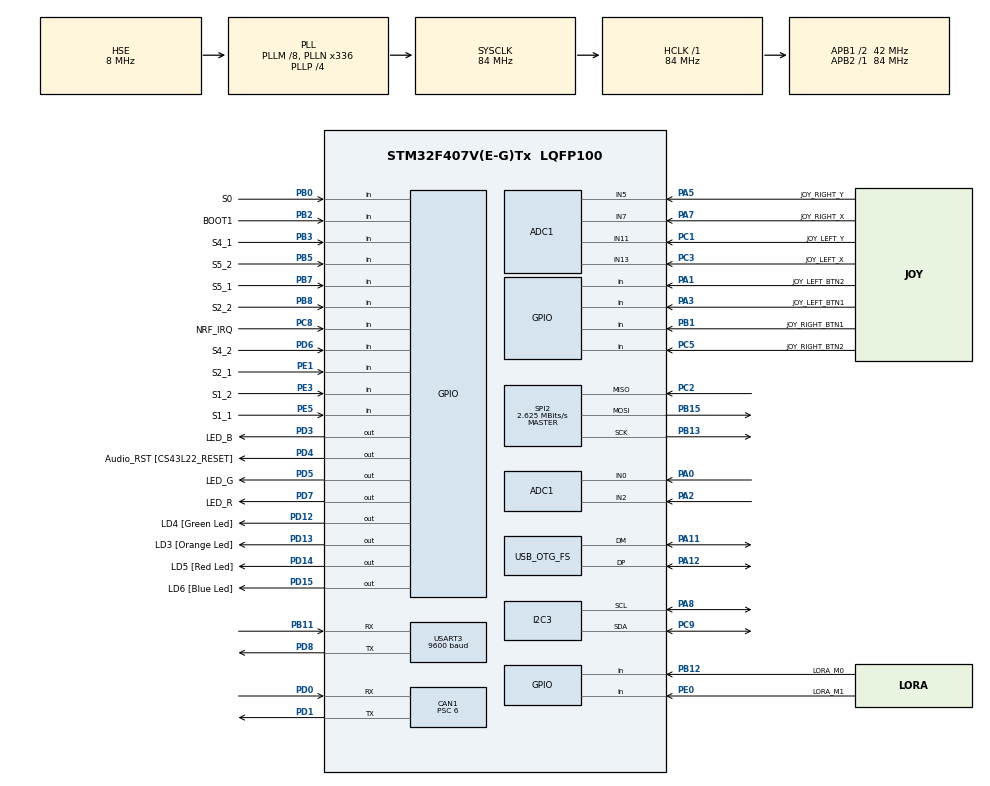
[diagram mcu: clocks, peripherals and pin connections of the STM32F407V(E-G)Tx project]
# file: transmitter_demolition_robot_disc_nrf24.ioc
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ADC1.Channel-0\#ChannelRegularConversion=ADC_CHANNEL_11
ADC1.Channel-1\#ChannelRegularConversion=ADC_CHANNEL_13
ADC1.Channel-2\#ChannelRegularConversion=ADC_CHANNEL_5
ADC1.Channel-3\#ChannelRegularConversion=ADC_CHANNEL_7
ADC1.Channel-4\#ChannelRegularConversion=ADC_CHANNEL_0
ADC1.Channel-5\#ChannelRegularConversion=ADC_CHANNEL_2
ADC1.ClockPrescaler=ADC_CLOCK_SYNC_PCLK_DIV4
ADC1.ContinuousConvMode=ENABLE
ADC1.DMAContinuousRequests=ENABLE
ADC1.DiscontinuousConvMode=DISABLE
ADC1.NbrOfConversion=6
ADC1.NbrOfConversionFlag=1
ADC1.Rank-0\#ChannelRegularConversion=1
ADC1.Rank-1\#ChannelRegularConversion=2
ADC1.Rank-2\#ChannelRegularConversion=3
ADC1.Rank-3\#ChannelRegularConversion=4
ADC1.Rank-4\#ChannelRegularConversion=5
ADC1.Rank-5\#ChannelRegularConversion=6
ADC1.SamplingTime-0\#ChannelRegularConversion=ADC_SAMPLETIME_84CYCLES
ADC1.SamplingTime-1\#ChannelRegularConversion=ADC_SAMPLETIME_84CYCLES
ADC1.SamplingTime-2\#ChannelRegularConversion=ADC_SAMPLETIME_84CYCLES
ADC1.SamplingTime-3\#ChannelRegularConversion=ADC_SAMPLETIME_84CYCLES
ADC1.SamplingTime-4\#ChannelRegularConversion=ADC_SAMPLETIME_84CYCLES
ADC1.SamplingTime-5\#ChannelRegularConversion=ADC_SAMPLETIME_84CYCLES
ADC1.ScanConvMode=ENABLE
ADC1.master=1
CAN1.BS1=CAN_BS1_11TQ
CAN1.BS2=CAN_BS2_2TQ
CAN1.CalculateBaudRate=500000
CAN1.CalculateTimeBit=2000
CAN1.CalculateTimeQuantum=142.85714285714286
CAN1.Prescaler=6
Dma.ADC1.0.Direction=DMA_PERIPH_TO_MEMORY
Dma.ADC1.0.FIFOMode=DMA_FIFOMODE_DISABLE
Dma.ADC1.0.Instance=DMA2_Stream0
Dma.ADC1.0.MemDataAlignment=DMA_MDATAALIGN_HALFWORD
Dma.ADC1.0.MemInc=DMA_MINC_ENABLE
Dma.ADC1.0.Mode=DMA_CIRCULAR
Dma.ADC1.0.PeriphDataAlignment=DMA_PDATAALIGN_HALFWORD
Dma.ADC1.0.PeriphInc=DMA_PINC_DISABLE
Dma.ADC1.0.Priority=DMA_PRIORITY_LOW
Dma.Request0=ADC1
I2C3.I2C_Mode=I2C_Fast
Mcu.Family=STM32F4
Mcu.Name=STM32F407V(E-G)Tx
Mcu.Package=LQFP100
NVIC.CAN1_RX0_IRQn=true\:0\:0\:false\:false\:true\:true\:true\:true
NVIC.CAN1_TX_IRQn=true\:0\:0\:false\:false\:true\:true\:true\:true
NVIC.DMA2_Stream0_IRQn=true\:0\:0\:false\:false\:true\:false\:true\:true
NVIC.OTG_FS_IRQn=true\:0\:0\:false\:false\:true\:false\:true\:true
NVIC.PriorityGroup=NVIC_PRIORITYGROUP_0
NVIC.USART3_IRQn=true\:0\:0\:false\:false\:true\:true\:true\:true
PA0-WKUP.Signal=ADCx_IN0
PA1.GPIO_Label=JOY_LEFT_BTN2
PA1.Signal=GPIO_Input
PA10.GPIO_Label=OTG_FS_ID
PA10.GPIO_Mode=GPIO_MODE_AF_PP
PA10.GPIO_PuPd=GPIO_NOPULL
PA10.GPIO_Speed=GPIO_SPEED_FREQ_LOW
PA10.Signal=USB_OTG_FS_ID
PA11.Mode=Device_Only
PA11.Signal=USB_OTG_FS_DM
PA12.Mode=Device_Only
PA12.Signal=USB_OTG_FS_DP
PA13.GPIO_Label=SWDIO
PA13.Signal=SYS_JTMS-SWDIO
PA14.GPIO_Label=SWCLK
PA14.Signal=SYS_JTCK-SWCLK
PA2.Signal=ADCx_IN2
PA3.GPIO_Label=JOY_LEFT_BTN1
PA3.Signal=GPIO_Input
PA4.GPIO_Label=I2S3_WS [CS43L22_LRCK]
PA4.GPIO_Mode=GPIO_MODE_AF_PP
PA4.GPIO_PuPd=GPIO_NOPULL
PA4.GPIO_Speed=GPIO_SPEED_FREQ_LOW
PA4.Signal=I2S3_WS
PA5.GPIO_Label=JOY_RIGHT_Y
PA5.Signal=ADCx_IN5
PA6.GPIO_Label=SPI1_MISO [LIS302DL_SDO]
PA6.GPIO_Mode=GPIO_MODE_AF_PP
PA6.GPIO_PuPd=GPIO_NOPULL
PA6.GPIO_Speed=GPIO_SPEED_FREQ_LOW
PA6.Signal=SPI1_MISO
PA7.GPIO_Label=JOY_RIGHT_X
PA7.Signal=ADCx_IN7
PA8.Mode=I2C
PA8.Signal=I2C3_SCL
PA9.GPIO_Label=VBUS_FS
PA9.GPIO_Mode=GPIO_MODE_INPUT
PA9.GPIO_PuPd=GPIO_NOPULL
PA9.Signal=USB_OTG_FS_VBUS
PB1.GPIO_Label=JOY_RIGHT_BTN1
PB1.Signal=GPIO_Input
PB10.GPIO_Label=CLK_IN [MP45DT02_CLK]
PB10.GPIO_Mode=GPIO_MODE_AF_PP
PB10.GPIO_PuPd=GPIO_NOPULL
PB10.GPIO_Speed=GPIO_SPEED_FREQ_LOW
PB10.Signal=I2S2_CK
PB11.Mode=Asynchronous
PB11.Signal=USART3_RX
PB12.GPIO_Label=LORA_M0
PB12.Signal=GPIO_Input
PB13.Mode=Full_Duplex_Master
PB13.Signal=SPI2_SCK
PB15.Mode=Full_Duplex_Master
PB15.Signal=SPI2_MOSI
PB2.GPIO_Label=BOOT1
PB2.GPIO_Mode=GPIO_MODE_INPUT
PB2.GPIO_PuPd=GPIO_NOPULL
PB2.Signal=GPIO_Input
PB3.GPIO_Label=S4_1
PB3.Signal=GPIO_Input
PB5.GPIO_Label=S5_2
PB5.Signal=GPIO_Input
PB6.GPIO_Label=Audio_SCL [CS43L22_SCL]
PB6.GPIO_Mode=GPIO_MODE_AF_OD
PB6.GPIO_PuPd=GPIO_NOPULL
PB6.GPIO_Speed=GPIO_SPEED_FREQ_LOW
PB6.Signal=I2C1_SCL
PB7.GPIO_Label=S5_1
PB7.Signal=GPIO_Input
PB8.GPIO_Label=S2_2
PB8.Signal=GPIO_Input
PB0.GPIO_Label=S0
PB0.Signal=GPIO_Input
PC1.GPIO_Label=JOY_LEFT_Y
PC1.Signal=ADCx_IN11
PC10.GPIO_Label=I2S3_SCK [CS43L22_SCLK]
PC10.GPIO_Mode=GPIO_MODE_AF_PP
PC10.GPIO_PuPd=GPIO_NOPULL
PC10.GPIO_Speed=GPIO_SPEED_FREQ_LOW
PC10.Signal=I2S3_CK
PC12.GPIO_Label=I2S3_SD [CS43L22_SDIN]
PC12.GPIO_Mode=GPIO_MODE_AF_PP
PC12.GPIO_PuPd=GPIO_NOPULL
PC12.GPIO_Speed=GPIO_SPEED_FREQ_LOW
PC12.Signal=I2S3_SD
PC14-OSC32_IN.GPIO_Label=PC14-OSC32_IN
PC14-OSC32_IN.Signal=RCC_OSC32_IN
PC15-OSC32_OUT.GPIO_Label=PC15-OSC32_OUT
PC15-OSC32_OUT.Signal=RCC_OSC32_OUT
PC2.Mode=Full_Duplex_Master
PC2.Signal=SPI2_MISO
PC3.GPIO_Label=JOY_LEFT_X
PC3.Signal=ADCx_IN13
PC5.GPIO_Label=JOY_RIGHT_BTN2
PC5.Signal=GPIO_Input
PC7.GPIO_Label=I2S3_MCK [CS43L22_MCLK]
PC7.GPIO_Mode=GPIO_MODE_AF_PP
PC7.GPIO_PuPd=GPIO_NOPULL
PC7.GPIO_Speed=GPIO_SPEED_FREQ_LOW
PC7.Signal=I2S3_MCK
PC8.GPIO_Label=NRF_IRQ
PC8.Signal=GPIO_Input
PC9.Mode=I2C
PC9.Signal=I2C3_SDA
PD0.Mode=CAN_Activate
PD0.Signal=CAN1_RX
PD1.Mode=CAN_Activate
PD1.Signal=CAN1_TX
PD12.GPIO_Label=LD4 [Green Led]
PD12.GPIO_PuPd=GPIO_NOPULL
PD12.GPIO_Speed=GPIO_SPEED_FREQ_LOW
PD12.Signal=GPIO_Output
PD13.GPIO_Label=LD3 [Orange Led]
PD13.GPIO_PuPd=GPIO_NOPULL
PD13.GPIO_Speed=GPIO_SPEED_FREQ_LOW
PD13.Signal=GPIO_Output
PD14.GPIO_Label=LD5 [Red Led]
PD14.GPIO_PuPd=GPIO_NOPULL
PD14.GPIO_Speed=GPIO_SPEED_FREQ_LOW
PD14.Signal=GPIO_Output
PD15.GPIO_Label=LD6 [Blue Led]
PD15.GPIO_PuPd=GPIO_NOPULL
PD15.GPIO_Speed=GPIO_SPEED_FREQ_LOW
PD15.Signal=GPIO_Output
PD3.GPIO_Label=LED_B
PD3.Signal=GPIO_Output
PD4.GPIO_Label=Audio_RST [CS43L22_RESET]
PD4.GPIO_PuPd=GPIO_NOPULL
PD4.GPIO_Speed=GPIO_SPEED_FREQ_LOW
PD4.Signal=GPIO_Output
PD5.GPIO_Label=LED_G
PD5.Signal=GPIO_Output
PD6.GPIO_Label=S4_2
PD6.Signal=GPIO_Input
PD7.GPIO_Label=LED_R
PD7.Signal=GPIO_Output
PD8.Mode=Asynchronous
PD8.Signal=USART3_TX
PE0.GPIO_Label=LORA_M1
PE0.Signal=GPIO_Input
PE1.GPIO_Label=S2_1
PE1.Signal=GPIO_Input
PE3.GPIO_Label=S1_2
PE3.Signal=GPIO_Input
PE5.GPIO_Label=S1_1
PE5.Signal=GPIO_Input
PH0-OSC_IN.GPIO_Label=PH0-OSC_IN
PH0-OSC_IN.Mode=HSE-External-Oscillator
PH0-OSC_IN.Signal=RCC_OSC_IN
PH1-OSC_OUT.GPIO_Label=PH1-OSC_OUT
PH1-OSC_OUT.Mode=HSE-External-Oscillator
PH1-OSC_OUT.Signal=RCC_OSC_OUT
ProjectManager.HeapSize=0x200
ProjectManager.StackSize=0x400
ProjectManager.TargetToolchain=STM32CubeIDE
RCC.48MHZClocksFreq_Value=48000000
RCC.AHBFreq_Value=84000000
RCC.APB1CLKDivider=RCC_HCLK_DIV2
RCC.APB1Freq_Value=42000000
RCC.APB1TimFreq_Value=84000000
RCC.APB2CLKDivider=RCC_HCLK_DIV1
RCC.APB2Freq_Value=84000000
RCC.APB2TimFreq_Value=84000000
RCC.CortexFreq_Value=84000000
RCC.HCLKFreq_Value=84000000
RCC.HSE_VALUE=8000000
RCC.HSI_VALUE=16000000
RCC.LSE_VALUE=32768
RCC.PLLM=8
RCC.PLLN=336
RCC.PLLP=RCC_PLLP_DIV4
RCC.PLLQ=7
RCC.SYSCLKFreq_VALUE=84000000
RCC.SYSCLKSource=RCC_SYSCLKSOURCE_PLLCLK
RCC.VCOOutputFreq_Value=336000000
SH.ADCx_IN0.0=ADC1_IN0,IN0
SH.ADCx_IN11.0=ADC1_IN11,IN11
SH.ADCx_IN13.0=ADC1_IN13,IN13
SH.ADCx_IN2.0=ADC1_IN2,IN2
SH.ADCx_IN5.0=ADC1_IN5,IN5
SH.ADCx_IN7.0=ADC1_IN7,IN7
SPI2.BaudRatePrescaler=SPI_BAUDRATEPRESCALER_16
SPI2.CalculateBaudRate=2.625 MBits/s
SPI2.Direction=SPI_DIRECTION_2LINES
SPI2.Mode=SPI_MODE_MASTER
SPI2.VirtualType=VM_MASTER
USART3.BaudRate=9600
USART3.VirtualMode=VM_ASYNC
USB_DEVICE.CLASS_NAME_FS=CDC
USB_DEVICE.VirtualMode-CDC_FS=Cdc
USB_DEVICE.VirtualModeFS=Cdc_FS
USB_OTG_FS.VirtualMode=Device_Only
VP_USB_DEVICE_VS_USB_DEVICE_CDC_FS.Mode=CDC_FS
board=STM32F407G-DISC1

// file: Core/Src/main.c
/* USER CODE BEGIN Header */
/**
  ******************************************************************************
  * @file           : main.c
  * @brief          : Main program body
  ******************************************************************************
  * @attention
  *
  * Copyright (c) 2026 STMicroelectronics.
  * All rights reserved.
  *
  * This software is licensed under terms that can be found in the LICENSE file
  * in the root directory of this software component.
  * If no LICENSE file comes with this software, it is provided AS-IS.
  *
  ******************************************************************************
  */
/* USER CODE END Header */
#include "main.h"
#include "adc.h"
#include "can.h"
#include "dma.h"
#include "i2c.h"
#include "spi.h"
#include "usart.h"
#include "usb_device.h"
#include "gpio.h"

/* USER CODE BEGIN Includes */
// Custom modules
#include "var.h"
#include "joystick.h"
#include "switch.h"
#include "nrf24.h"
#include "oled.h"
#include "usb_device.h"
#include "usbd_cdc_if.h"
#include "debug.h"
#include <stdio.h>
#include <string.h>
/* USER CODE END Includes */

/* USER CODE BEGIN PV */
extern I2C_HandleTypeDef hi2c3;  // I2C3 for OLED (PA8=SCL, PC9=SDA)
/* USER CODE END PV */

void SystemClock_Config(void);
/* USER CODE BEGIN PFP */
void Debug_Print(const char* msg);
void Debug_Printf(const char* format, ...);
/* USER CODE END PFP */

/* USER CODE BEGIN 0 */
volatile uint8_t s0_emergency_flag = 0;  // Set by EXTI0 ISR when S0 = 0
volatile uint8_t clock_source_is_hsi = 0;  // 1 if HSE failed and HSI fallback is active
/* USER CODE END 0 */

int main(void)
{

  /* MCU Configuration--------------------------------------------------------*/

  /* Reset of all peripherals, Initializes the Flash interface and the Systick. */
  HAL_Init();

  /* Configure the system clock */
  SystemClock_Config();

  /* Initialize all configured peripherals */
  MX_GPIO_Init();
  MX_DMA_Init();
  MX_ADC1_Init();
  MX_CAN1_Init();
  MX_I2C3_Init();
  MX_SPI2_Init();
  MX_USART3_UART_Init();
  MX_USB_DEVICE_Init();
  /* USER CODE BEGIN 2 */

  // Re-configure switch pins with internal pull-down (survives CubeMX regeneration)
  MX_GPIO_ConfigureSwitchPullDown();

  // Read initial S0 state (EXTI only triggers on edges, need initial state)
  if (HAL_GPIO_ReadPin(S0_GPIO_Port, S0_Pin) == GPIO_PIN_RESET)
  {
      s0_emergency_flag = 1;
  }

  // Wait for USB CDC to be ready
  HAL_Delay(2000);

  // Debug: Send startup message
  Debug_Printf("\r\n=== Transmitter Demolition Robot (NRF24 + Discovery) ===\r\n");
  HAL_Delay(10);
  if (clock_source_is_hsi)
  {
      Debug_Printf("System Clock: 84 MHz (HSI fallback - HSE failed)\r\n\r\n");
  }
  else
  {
      Debug_Printf("System Clock: 84 MHz (HSE), USB CDC Ready\r\n\r\n");
  }
  HAL_Delay(10);

  // Debug counter for periodic status output
  uint16_t debug_counter = 0;
  #define DEBUG_INTERVAL 200  // Print debug every 200 cycles (~1s at fast loop)

  // TX diagnostics`
  uint32_t tx_ok_count = 0;
  uint32_t tx_fail_count = 0;
  uint32_t tx_not_ready = 0;

  // SLEEP mode variables
  uint8_t sleep_mode_active = 1;  // Start in SLEEP mode for safety!
  uint8_t sleep_transition_steps = 0;
  uint8_t safety_check_passed = 0;
  uint8_t last_s1_1_state = 0;
  uint8_t s1_1_hold_counter = 0;
  uint8_t s1_2_hold_counter = 0;
  uint8_t calibration_done = 0;
  uint8_t s2_1_hold_counter = 0;
  uint8_t last_s0_state = 1;  // Track S0 state to detect S0 transitions (0→1)

  #define SLEEP_TRANSITION_SPEED 10  // 10 steps transition
  #define S1_1_HOLD_REQUIRED 20      // ~20 cycles = ~0.1 second hold required (exit SLEEP)
  #define S1_2_HOLD_REQUIRED 20      // ~20 cycles = ~0.1 second hold required (calibration)
  #define S2_1_HOLD_REQUIRED 20      // ~20 cycles = ~0.1 second hold required (start MOTOR)

  // Motor starter variables
  uint8_t motor_active = 0;        // Motor starter state (0=OFF, 1=ON)

  // Safety tolerances for exiting SLEEP mode
  #define JOYSTICK_CENTER 127
  #define JOYSTICK_TOLERANCE 25   // ±5 points tolerance

  // Initialize NRF24 GPIO pins (PC6=CSN, PC7=CE) - Manual init since not in IOC
  GPIO_InitTypeDef GPIO_InitStruct = {0};
  GPIO_InitStruct.Pin = NRF_CSN_Pin | NRF_CE_Pin;
  GPIO_InitStruct.Mode = GPIO_MODE_OUTPUT_PP;
  GPIO_InitStruct.Pull = GPIO_NOPULL;
  GPIO_InitStruct.Speed = GPIO_SPEED_FREQ_VERY_HIGH;
  HAL_GPIO_Init(GPIOC, &GPIO_InitStruct);

  // Set initial states
  HAL_GPIO_WritePin(NRF_CSN_GPIO_Port, NRF_CSN_Pin, GPIO_PIN_SET);    // CSN HIGH (inactive)
  HAL_GPIO_WritePin(NRF_CE_GPIO_Port, NRF_CE_Pin, GPIO_PIN_RESET);    // CE LOW (inactive)

  // Initialize custom modules
  Var_Init();      // Initialize data structure dan sub-modules (joystick, switch)

  // Initialize NRF24L01+ module with CE=PC7, CSN=PC6
  NRF24_Init(&hspi2, NRF_CE_GPIO_Port, NRF_CE_Pin, NRF_CSN_GPIO_Port, NRF_CSN_Pin);

  // Configure NRF24 module
  if (NRF24_Configure())
  {
      // NRF24 configured successfully - LED green ON briefly
      HAL_GPIO_WritePin(LED_G_GPIO_Port, LED_G_Pin, GPIO_PIN_SET);
      Debug_Printf("NRF24: OK\r\n");
      HAL_Delay(200);
      HAL_GPIO_WritePin(LED_G_GPIO_Port, LED_G_Pin, GPIO_PIN_RESET);
  }
  else
  {
      // NRF24 configuration failed - LED red ON
      HAL_GPIO_WritePin(LED_R_GPIO_Port, LED_R_Pin, GPIO_PIN_SET);
      Debug_Printf("NRF24: FAIL (check wiring)\r\n");
  }
  HAL_Delay(10);

  HAL_Delay(50);

  // ========================================================================
  // WAIT FOR S0 = 1 BEFORE SYSTEM START (Emergency safety check)
  // ========================================================================
  Debug_Printf("Waiting for S0=1...\r\n");
  HAL_Delay(10);
  while (1)
  {
      Var_Update();  // Read switch states

      // Print raw S0 value for debugging
      Debug_Printf("RAW S0=%d\r\n", tx_data.switches.s0);
      HAL_Delay(10);

      if (tx_data.switches.s0 == 1)
      {
          // S0 is in NORMAL position - safe to start system!
          Debug_Printf("S0=1, System starting...\r\n");
          HAL_Delay(10);
          break;  // Exit wait loop
      }

      // S0 still in EMERGENCY position - keep waiting, blink red LED
      HAL_GPIO_TogglePin(LED_R_GPIO_Port, LED_R_Pin);
      HAL_Delay(500);
  }
  HAL_GPIO_WritePin(LED_R_GPIO_Port, LED_R_Pin, GPIO_PIN_RESET);

  // Initialize OLED Display (128x64 I2C3 on PA8/PC9)
  OLED_Init(&hi2c3);

  // Show splash screen
  OLED_ShowSplashScreen();

  Debug_Printf("Entering main loop...\r\n");
  HAL_Delay(10);

  /* USER CODE END 2 */

  /* Infinite loop */
  while (1)
  {

    /* USER CODE BEGIN 3 */
    // Update semua data sensor
    Var_Update();

    // ========================================================================
    // DEBUG: Print RAW hardware values BEFORE any override (every DEBUG_INTERVAL)
    // ========================================================================
    if (++debug_counter >= DEBUG_INTERVAL)
    {
        debug_counter = 0;
        Debug_PrintTxData(&tx_data);  // Print RAW values here, before override
        Debug_Printf("  NRF: ST=0x%02X | OK=%lu FAIL=%lu NRDY=%lu | LQ=%u%%\r\n",
            NRF24_GetStatus(), tx_ok_count, tx_fail_count, tx_not_ready, NRF24_GetLinkQuality());
    }

    // ========================================================================
    // S0 EMERGENCY SWITCH - Controls emergency relay on robot
    // ========================================================================
    // Also update tx_data.switches.s0 from interrupt flag
    tx_data.switches.s0 = s0_emergency_flag ? 0 : 1;

    if (s0_emergency_flag)
    {
        // S0 = 0 - EMERGENCY MODE
        // First emergency after boot: just clear (avoid any text-render error
        // before OLED is fully exercised). Subsequent emergencies show text.
        // Re-draw periodically (every ~20 loops) so an I2C glitch self-recovers.
        static uint8_t emergency_redraw_counter = 0;
        static uint8_t emergency_first_event = 1;
        if (last_s0_state != 0 || ++emergency_redraw_counter >= 20)
        {
            emergency_redraw_counter = 0;
            OLED_Clear();
            if (!emergency_first_event)
            {
                OLED_SetCursor(8, 16);
                OLED_WriteString("EMERGENCY", FONT_SIZE_NORMAL);
                OLED_SetCursor(32, 36);
                OLED_WriteString("STOP", FONT_SIZE_LARGE);
            }
            OLED_Update();
            emergency_first_event = 0;
        }

        // Override all controls to SAFE values for emergency
        tx_data.joystick.left_x  = 127;
        tx_data.joystick.left_y  = 127;
        tx_data.joystick.right_x = 127;
        tx_data.joystick.right_y = 127;

        // All switches to 0
        tx_data.switches.joy_left_btn1  = 0;
        tx_data.switches.joy_left_btn2  = 0;
        tx_data.switches.joy_right_btn1 = 0;
        tx_data.switches.joy_right_btn2 = 0;
        tx_data.switches.s1_1 = 0;
        tx_data.switches.s1_2 = 0;
        tx_data.switches.s2_1 = 0;
        tx_data.switches.s2_2 = 0;
        tx_data.switches.s4_1 = 0;
        tx_data.switches.s4_2 = 0;
        tx_data.switches.s5_1 = 0;
        tx_data.switches.s5_2 = 0;
        tx_data.switches.motor_active = 0;

        last_s0_state = 0;
        sleep_mode_active = 1;
        sleep_transition_steps = 0;
        safety_check_passed = 0;
        s1_1_hold_counter = 0;
        s1_2_hold_counter = 0;
        calibration_done = 0;
        s2_1_hold_counter = 0;
        motor_active = 0;

        // Red LED ON for emergency
        HAL_GPIO_WritePin(LED_R_GPIO_Port, LED_R_Pin, GPIO_PIN_SET);
    }
    else
    {
        // S0 = 1 - NORMAL MODE
        HAL_GPIO_WritePin(LED_R_GPIO_Port, LED_R_Pin, GPIO_PIN_RESET);

        if (last_s0_state == 0)
        {
            OLED_ShowSplashScreen();
            // No HAL_Delay here - blocking would freeze emergency response
            last_s0_state = 1;
            sleep_mode_active = 1;
            sleep_transition_steps = 0;
            safety_check_passed = 0;
            s1_1_hold_counter = 0;
            s1_2_hold_counter = 0;
            calibration_done = 0;
            s2_1_hold_counter = 0;
            motor_active = 0;
        }
    }

    // ========================================================================
    // SLEEP MODE - Safety Feature with Safety Interlock
    // ========================================================================
    if (sleep_mode_active)
    {
        uint8_t joystick_safe = 0;
        uint8_t switches_safe = 0;

        // Check joysticks are centered (127 ± 5)
        if ((tx_data.joystick.left_x  >= JOYSTICK_CENTER - JOYSTICK_TOLERANCE) &&
            (tx_data.joystick.left_x  <= JOYSTICK_CENTER + JOYSTICK_TOLERANCE) &&
            (tx_data.joystick.left_y  >= JOYSTICK_CENTER - JOYSTICK_TOLERANCE) &&
            (tx_data.joystick.left_y  <= JOYSTICK_CENTER + JOYSTICK_TOLERANCE) &&
            (tx_data.joystick.right_x >= JOYSTICK_CENTER - JOYSTICK_TOLERANCE) &&
            (tx_data.joystick.right_x <= JOYSTICK_CENTER + JOYSTICK_TOLERANCE) &&
            (tx_data.joystick.right_y >= JOYSTICK_CENTER - JOYSTICK_TOLERANCE) &&
            (tx_data.joystick.right_y <= JOYSTICK_CENTER + JOYSTICK_TOLERANCE))
        {
            joystick_safe = 1;
        }

        // Check all switches are 0 (except S0, S1_1 for exit SLEEP, S1_2 for calibration)
        if ((tx_data.switches.joy_left_btn1  == 0) &&
            (tx_data.switches.joy_left_btn2  == 0) &&
            (tx_data.switches.joy_right_btn1 == 0) &&
            (tx_data.switches.joy_right_btn2 == 0) &&
            (tx_data.switches.s2_1 == 0) &&
            (tx_data.switches.s2_2 == 0) &&
            (tx_data.switches.s4_1 == 0) &&
            (tx_data.switches.s4_2 == 0) &&
            (tx_data.switches.s5_1 == 0) &&
            (tx_data.switches.s5_2 == 0))
        {
            switches_safe = 1;
        }

        if (joystick_safe && switches_safe)
        {
            safety_check_passed = 1;

            // S1_2 = Joystick Calibration (in SLEEP mode only, hold to calibrate, once only)
            if (!calibration_done && tx_data.switches.s1_2 == 1)
            {
                s1_2_hold_counter++;
                if (s1_2_hold_counter >= S1_2_HOLD_REQUIRED)
                {
                    Joystick_Calibrate();
                    calibration_done = 1;
                    s1_2_hold_counter = 0;
                }
            }
            else if (!calibration_done)
            {
                s1_2_hold_counter = 0;
            }

            if (tx_data.switches.s1_1 == 1)
            {
                s1_1_hold_counter++;
                if (s1_1_hold_counter >= S1_1_HOLD_REQUIRED)
                {
                    sleep_mode_active = 0;
                    sleep_transition_steps = 0;
                    s1_1_hold_counter = 0;
                }
            }
            else
            {
                s1_1_hold_counter = 0;
            }
            last_s1_1_state = tx_data.switches.s1_1;
        }
        else
        {
            safety_check_passed = 0;
            last_s1_1_state = 0;
            s1_1_hold_counter = 0;
            s1_2_hold_counter = 0;

            // Override transmitted data to safe values during SLEEP
            tx_data.joystick.left_x  = 127;
            tx_data.joystick.left_y  = 127;
            tx_data.joystick.right_x = 127;
            tx_data.joystick.right_y = 127;

            tx_data.switches.joy_left_btn1  = 0;
            tx_data.switches.joy_left_btn2  = 0;
            tx_data.switches.joy_right_btn1 = 0;
            tx_data.switches.joy_right_btn2 = 0;
            tx_data.switches.s1_1 = 0;
            tx_data.switches.s1_2 = 0;
            tx_data.switches.s2_1 = 0;
            tx_data.switches.s2_2 = 0;
            tx_data.switches.s4_1 = 0;
            tx_data.switches.s4_2 = 0;
            tx_data.switches.s5_1 = 0;
            tx_data.switches.s5_2 = 0;
        }
    }
    else
    {
        safety_check_passed = 0;
        last_s1_1_state = tx_data.switches.s1_1;
    }

    // ========================================================================
    // MOTOR STARTER CONTROL - S2_1 HOLD - SELF-HOLDING
    // ========================================================================
    if (!sleep_mode_active)
    {
        if (tx_data.switches.s2_1 == 1)
        {
            s2_1_hold_counter++;
            if (s2_1_hold_counter >= S2_1_HOLD_REQUIRED)
            {
                motor_active = 1;
            }
        }
        else
        {
            s2_1_hold_counter = 0;
        }
    }
    else
    {
        motor_active = 0;
        s2_1_hold_counter = 0;
    }

    // Update motor state in tx_data before transmission
    tx_data.switches.motor_active = motor_active;

    // Unlock state: 1 = sudah keluar SLEEP (S1_1 ditahan), 0 = masih terkunci
    // Control board pakai ini untuk mengizinkan PWM solenoid tanpa start motor
    tx_data.switches.unlocked = !sleep_mode_active;

    // Transmit via NRF24 using BINARY format (8 bytes)
    if (NRF24_IsReady())
    {
        if (NRF24_SendBinary(Var_GetBinaryData(), Var_GetDataSize()))
        {
            tx_ok_count++;
            // Transmission success - brief green LED blink
            HAL_GPIO_WritePin(LED_G_GPIO_Port, LED_G_Pin, GPIO_PIN_SET);
        }
        else
        {
            tx_fail_count++;
            // Transmission failed - blue LED
            HAL_GPIO_WritePin(LED_B_GPIO_Port, LED_B_Pin, GPIO_PIN_SET);
        }
    }
    else
    {
        tx_not_ready++;
    }

    // Update OLED display (every 10 cycles = ~500ms)
    if (tx_data.switches.s0 == 1)
    {
        static uint8_t oled_counter = 0;
        static uint8_t last_sleep_state = 0;
        static uint8_t last_safety_state = 0;
        static uint8_t last_hold_counter = 0;
        static uint8_t last_motor_state = 0;
        static uint8_t last_cal_state = 0;

        uint8_t current_hold_progress = sleep_mode_active ? s1_1_hold_counter : s2_1_hold_counter;

        if (sleep_mode_active != last_sleep_state ||
            safety_check_passed != last_safety_state ||
            current_hold_progress != last_hold_counter ||
            motor_active != last_motor_state ||
            s1_2_hold_counter != last_cal_state ||
            ++oled_counter >= 10)
        {
            oled_counter = 0;
            last_sleep_state = sleep_mode_active;
            last_safety_state = safety_check_passed;
            last_hold_counter = current_hold_progress;
            last_motor_state = motor_active;
            last_cal_state = s1_2_hold_counter;
            uint8_t cal_progress = calibration_done ? 255 : s1_2_hold_counter;  // 255 = done
            uint8_t link_quality = NRF24_GetLinkQuality();  // 0-100 from robot Auto-ACK
            OLED_ShowModeScreen(tx_data.switches.s5_1, tx_data.switches.s5_2, (uint8_t*)&tx_data.joystick, sleep_mode_active, safety_check_passed, current_hold_progress, motor_active, cal_progress, link_quality);
            OLED_Update();
        }
    }

    // Turn off LEDs after brief indication
    HAL_GPIO_WritePin(LED_G_GPIO_Port, LED_G_Pin, GPIO_PIN_RESET);
    HAL_GPIO_WritePin(LED_B_GPIO_Port, LED_B_Pin, GPIO_PIN_RESET);

    // No delay — transmit as fast as possible
  }
  /* USER CODE END 3 */
}

void SystemClock_Config(void)
{
  RCC_OscInitTypeDef RCC_OscInitStruct = {0};
  RCC_ClkInitTypeDef RCC_ClkInitStruct = {0};
  HAL_StatusTypeDef status = HAL_ERROR;
  const uint8_t HSE_MAX_ATTEMPTS = 5;

  /** Configure the main internal regulator output voltage
  */
  __HAL_RCC_PWR_CLK_ENABLE();
  __HAL_PWR_VOLTAGESCALING_CONFIG(PWR_REGULATOR_VOLTAGE_SCALE1);

  /** Try HSE first (8 MHz crystal → PLL → 84 MHz SYSCLK, 48 MHz USB).
   *  HSE can fail to start when VDD ramps up slowly (e.g. external 5V supply).
   *  Retry up to HSE_MAX_ATTEMPTS times, cycling HSE off/on between attempts
   *  to let the crystal oscillator restart cleanly.
   */
  RCC_OscInitStruct.OscillatorType = RCC_OSCILLATORTYPE_HSE;
  RCC_OscInitStruct.HSEState = RCC_HSE_ON;
  RCC_OscInitStruct.PLL.PLLState = RCC_PLL_ON;
  RCC_OscInitStruct.PLL.PLLSource = RCC_PLLSOURCE_HSE;
  RCC_OscInitStruct.PLL.PLLM = 8;
  RCC_OscInitStruct.PLL.PLLN = 336;
  RCC_OscInitStruct.PLL.PLLP = RCC_PLLP_DIV4;
  RCC_OscInitStruct.PLL.PLLQ = 7;

  for (uint8_t attempt = 0; attempt < HSE_MAX_ATTEMPTS; attempt++)
  {
    status = HAL_RCC_OscConfig(&RCC_OscInitStruct);
    if (status == HAL_OK)
    {
      break;
    }
    __HAL_RCC_HSE_CONFIG(RCC_HSE_OFF);
    HAL_Delay(50);  // SysTick runs on HSI here, so HAL_Delay still works
  }

  /** Fallback to HSI (16 MHz) if HSE never started.
   *  PLL re-tuned so SYSCLK still = 84 MHz and USB still = 48 MHz:
   *    VCO_in = HSI/PLLM = 16/16 = 1 MHz (same as HSE/8)
   *  Note: HSI tolerance (~1%) does not meet USB-CDC spec (±0.25%);
   *  USB may be unreliable in this fallback mode, but SPI/NRF24/OLED work fine.
   */
  if (status != HAL_OK)
  {
    clock_source_is_hsi = 1;

    RCC_OscInitStruct.OscillatorType = RCC_OSCILLATORTYPE_HSI;
    RCC_OscInitStruct.HSEState = RCC_HSE_OFF;
    RCC_OscInitStruct.HSIState = RCC_HSI_ON;
    RCC_OscInitStruct.HSICalibrationValue = RCC_HSICALIBRATION_DEFAULT;
    RCC_OscInitStruct.PLL.PLLState = RCC_PLL_ON;
    RCC_OscInitStruct.PLL.PLLSource = RCC_PLLSOURCE_HSI;
    RCC_OscInitStruct.PLL.PLLM = 16;
    RCC_OscInitStruct.PLL.PLLN = 336;
    RCC_OscInitStruct.PLL.PLLP = RCC_PLLP_DIV4;
    RCC_OscInitStruct.PLL.PLLQ = 7;

    if (HAL_RCC_OscConfig(&RCC_OscInitStruct) != HAL_OK)
    {
      Error_Handler();
    }
  }

  /** Initializes the CPU, AHB and APB buses clocks
  */
  RCC_ClkInitStruct.ClockType = RCC_CLOCKTYPE_HCLK|RCC_CLOCKTYPE_SYSCLK
                              |RCC_CLOCKTYPE_PCLK1|RCC_CLOCKTYPE_PCLK2;
  RCC_ClkInitStruct.SYSCLKSource = RCC_SYSCLKSOURCE_PLLCLK;
  RCC_ClkInitStruct.AHBCLKDivider = RCC_SYSCLK_DIV1;
  RCC_ClkInitStruct.APB1CLKDivider = RCC_HCLK_DIV2;
  RCC_ClkInitStruct.APB2CLKDivider = RCC_HCLK_DIV1;

  if (HAL_RCC_ClockConfig(&RCC_ClkInitStruct, FLASH_LATENCY_2) != HAL_OK)
  {
    Error_Handler();
  }
}

/* USER CODE BEGIN 4 */
#include <stdarg.h>

/* USER CODE END 4 */

void Error_Handler(void)
{
  __disable_irq();
  while (1)
  {
  }
}
